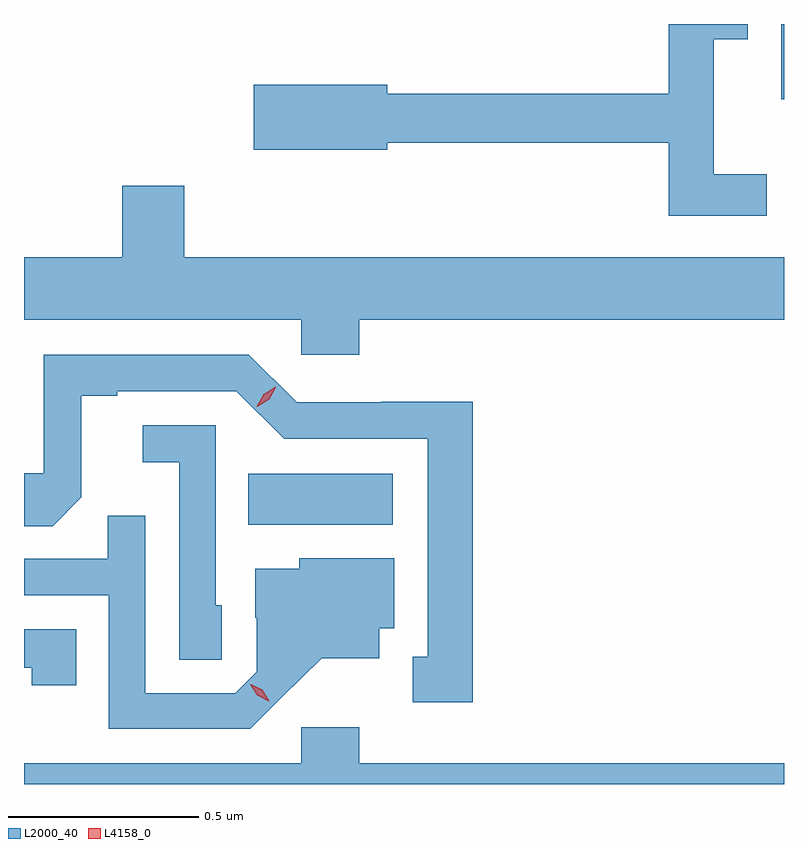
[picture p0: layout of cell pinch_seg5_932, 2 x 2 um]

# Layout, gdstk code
import gdstk
lib = gdstk.Library(unit=1e-6, precision=1e-09)
def R(c, l, rs):  # rectangles x0, y0, x1, y1
    for r in rs: c.add(gdstk.rectangle(r[:2], r[2:], *l))
def P(c, l, *ps):  # polygons
    for p in ps: c.add(gdstk.Polygon(p, *l))
L2000_40 = (2000, 40)
L4158_0 = (4158, 0)

pinch_seg5_932 = lib.new_cell('pinch_seg5_932')
R(pinch_seg5_932, L2000_40, [(704.8,882.86,705.181,882.994), (706.203,883.98,706.21,884.178)])
P(pinch_seg5_932, L2000_40, [(706.165,883.783),(706.025,883.783),(706.025,884.138),(706.114,884.138),(706.114,884.178),(705.907,884.178),(705.907,883.994),(705.166,883.994),(705.166,884.018),(704.814,884.018),(704.814,883.847),(705.166,883.847),(705.166,883.866),(705.907,883.866),(705.907,883.674),(706.165,883.674)],
  [(705.092,883.4),(706.21,883.4),(706.21,883.564),(704.632,883.564),(704.632,883.753),(704.468,883.753),(704.468,883.564),(704.21,883.564),(704.21,883.4),(704.94,883.4),(704.94,883.307),(705.092,883.307)],
  [(705.391,883.184),(705.15,883.184),(705.15,883.182),(704.928,883.182),(704.802,883.308),(704.262,883.308),(704.262,882.996),(704.21,882.996),(704.21,882.856),(704.285,882.856),(704.361,882.932),(704.361,883.2),(704.455,883.2),(704.455,883.212),(704.769,883.212),(704.895,883.086),(705.272,883.086),(705.272,882.513),(705.233,882.513),(705.233,882.393),(705.391,882.393)],
  [(704.73,882.648),(704.715,882.648),(704.715,883.122),(704.523,883.122),(704.523,883.025),(704.619,883.025),(704.619,882.505),(704.73,882.505)],
  [(704.89,882.407),(704.993,882.509),(705.145,882.509),(705.145,882.588),(705.184,882.588),(705.184,882.772),(704.934,882.772),(704.934,882.745),(704.819,882.745),(704.819,882.616),(704.823,882.616),(704.823,882.474),(704.766,882.417),(704.529,882.417),(704.529,882.884),(704.431,882.884),(704.431,882.771),(704.21,882.771),(704.21,882.675),(704.433,882.675),(704.433,882.324),(704.806,882.324)],
  [(704.348,882.585),(704.21,882.585),(704.21,882.484),(704.23,882.484),(704.23,882.438),(704.348,882.438)],
  [(706.21,882.232),(705.092,882.232),(705.092,882.328),(704.94,882.328),(704.94,882.232),(704.21,882.232),(704.21,882.178),(706.21,882.178)])
P(pinch_seg5_932, L4158_0, [(704.823,883.171),(704.823,883.171),(704.841,883.204),(704.873,883.223),(704.873,883.223),(704.873,883.222),(704.855,883.19),(704.824,883.171)],
  [(704.854,882.396),(704.824,882.411),(704.806,882.441),(704.806,882.441),(704.807,882.441),(704.837,882.426),(704.855,882.396),(704.855,882.396)])

lib.write_gds('pinch_seg5_932.gds')
